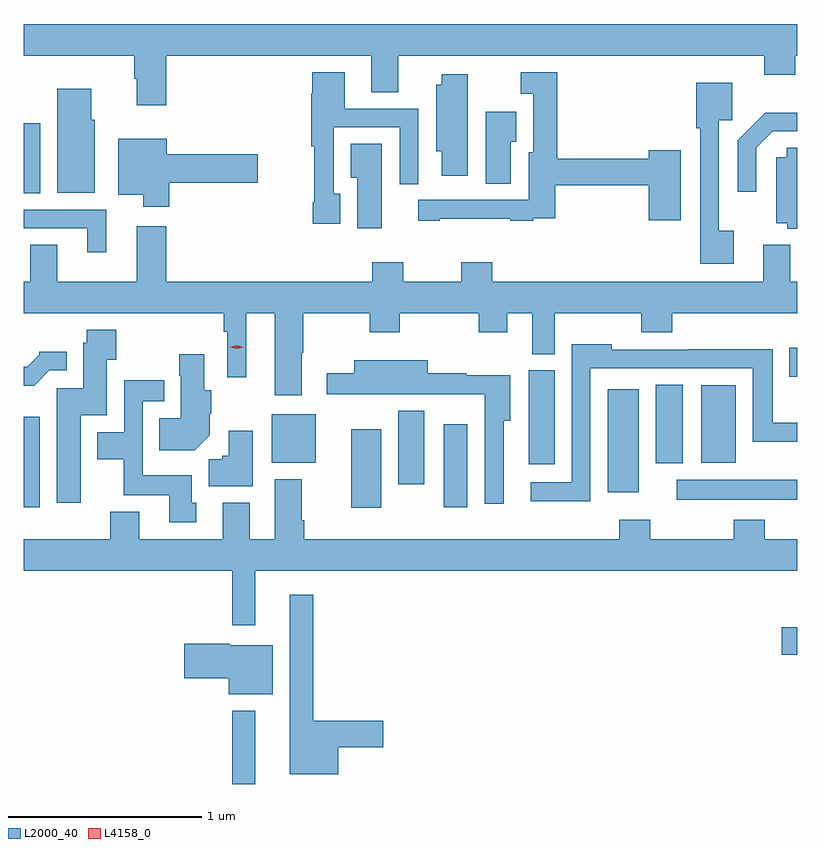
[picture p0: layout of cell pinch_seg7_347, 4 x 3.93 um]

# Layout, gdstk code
import gdstk
lib = gdstk.Library(unit=1e-6, precision=1e-09)
def R(c, l, rs):  # rectangles x0, y0, x1, y1
    for r in rs: c.add(gdstk.rectangle(r[:2], r[2:], *l))
def P(c, l, *ps):  # polygons
    for p in ps: c.add(gdstk.Polygon(p, *l))
L2000_40 = (2000, 40)
L4158_0 = (4158, 0)

pinch_seg7_347 = lib.new_cell('pinch_seg7_347')
R(pinch_seg7_347, L2000_40, [(370.95,1002.177,371.071,1002.556), (373.794,1002.845,373.873,1002.987), (371.567,1003.605,371.722,1004.011), (369.873,1003.608,369.955,1004.077), (372.044,1003.608,372.166,1004.038), (373.251,1003.646,373.873,1003.75), (372.893,1003.686,373.054,1004.218), (371.81,1003.728,371.944,1004.107), (372.485,1003.83,372.619,1004.316), (373.142,1003.835,373.282,1004.243), (371.156,1003.838,371.383,1004.089), (373.376,1003.838,373.555,1004.239), (373.832,1004.284,373.873,1004.434), (369.873,1005.232,369.958,1005.595)])
P(pinch_seg7_347, L2000_40, [(370.61,1005.944),(371.669,1005.944),(371.669,1005.754),(371.809,1005.754),(371.809,1005.944),(373.703,1005.944),(373.703,1005.845),(373.863,1005.845),(373.863,1005.944),(373.873,1005.944),(373.873,1006.108),(369.873,1006.108),(369.873,1005.944),(370.445,1005.944),(370.445,1005.824),(370.457,1005.824),(370.457,1005.687),(370.61,1005.687)],
  [(372.025,1005.1),(372.389,1005.1),(372.389,1005.09),(372.509,1005.09),(372.509,1005.102),(372.621,1005.102),(372.621,1005.274),(373.105,1005.274),(373.105,1005.093),(373.27,1005.093),(373.27,1005.454),(373.105,1005.454),(373.105,1005.41),(372.631,1005.41),(372.631,1005.859),(372.444,1005.859),(372.444,1005.746),(372.509,1005.746),(372.509,1005.444),(372.485,1005.444),(372.485,1005.198),(371.913,1005.198),(371.913,1005.09),(372.025,1005.09)],
  [(371.509,1005.231),(371.475,1005.231),(371.475,1005.573),(371.817,1005.573),(371.817,1005.279),(371.913,1005.279),(371.913,1005.669),(371.533,1005.669),(371.533,1005.859),(371.366,1005.859),(371.366,1005.746),(371.359,1005.746),(371.359,1005.476),(371.374,1005.476),(371.374,1005.187),(371.367,1005.187),(371.367,1005.075),(371.509,1005.075)],
  [(372.169,1005.847),(372.035,1005.847),(372.035,1005.793),(372.005,1005.793),(372.005,1005.449),(372.035,1005.449),(372.035,1005.324),(372.169,1005.324)],
  [(373.546,1005.038),(373.467,1005.038),(373.467,1005.609),(373.536,1005.609),(373.536,1005.805),(373.351,1005.805),(373.351,1005.569),(373.371,1005.569),(373.371,1004.868),(373.546,1004.868)],
  [(370.24,1005.612),(370.222,1005.612),(370.222,1005.772),(370.046,1005.772),(370.046,1005.236),(370.24,1005.236)],
  [(372.391,1005.499),(372.421,1005.499),(372.421,1005.655),(372.263,1005.655),(372.263,1005.283),(372.391,1005.283)],
  [(373.662,1005.468),(373.746,1005.552),(373.873,1005.552),(373.873,1005.65),(373.707,1005.65),(373.566,1005.508),(373.566,1005.24),(373.662,1005.24)],
  [(370.625,1005.287),(371.083,1005.287),(371.083,1005.434),(370.612,1005.434),(370.612,1005.514),(370.361,1005.514),(370.361,1005.224),(370.49,1005.224),(370.49,1005.162),(370.625,1005.162)],
  [(371.725,1005.488),(371.564,1005.488),(371.564,1005.314),(371.597,1005.314),(371.597,1005.051),(371.725,1005.051)],
  [(373.873,1005.467),(373.818,1005.467),(373.818,1005.42),(373.766,1005.42),(373.766,1005.077),(373.821,1005.077),(373.821,1005.05),(373.873,1005.05)],
  [(370.3,1005.147),(369.873,1005.147),(369.873,1005.051),(370.202,1005.051),(370.202,1004.928),(370.3,1004.928)],
  [(371.311,1004.408),(371.319,1004.408),(371.319,1004.612),(371.662,1004.612),(371.662,1004.513),(371.817,1004.513),(371.817,1004.612),(372.226,1004.612),(372.226,1004.513),(372.373,1004.513),(372.373,1004.612),(372.503,1004.612),(372.503,1004.401),(372.619,1004.401),(372.619,1004.612),(373.066,1004.612),(373.066,1004.513),(373.226,1004.513),(373.226,1004.612),(373.873,1004.612),(373.873,1004.776),(373.837,1004.776),(373.837,1004.965),(373.697,1004.965),(373.697,1004.776),(372.296,1004.776),(372.296,1004.875),(372.136,1004.875),(372.136,1004.776),(371.835,1004.776),(371.835,1004.875),(371.675,1004.875),(371.675,1004.776),(370.61,1004.776),(370.61,1005.061),(370.457,1005.061),(370.457,1004.776),(370.045,1004.776),(370.045,1004.966),(369.905,1004.966),(369.905,1004.776),(369.873,1004.776),(369.873,1004.612),(370.906,1004.612),(370.906,1004.516),(370.926,1004.516),(370.926,1004.28),(371.023,1004.28),(371.023,1004.612),(371.171,1004.612),(371.171,1004.187),(371.311,1004.187)],
  [(370.168,1004.084),(370.303,1004.084),(370.303,1004.371),(370.35,1004.371),(370.35,1004.527),(370.198,1004.527),(370.198,1004.46),(370.181,1004.46),(370.181,1004.223),(370.043,1004.223),(370.043,1003.632),(370.168,1003.632)],
  [(372.804,1004.328),(373.643,1004.328),(373.643,1003.946),(373.873,1003.946),(373.873,1004.046),(373.747,1004.046),(373.747,1004.426),(373.309,1004.426),(373.309,1004.424),(372.915,1004.424),(372.915,1004.452),(372.708,1004.452),(372.708,1003.737),(372.495,1003.737),(372.495,1003.64),(372.804,1003.64)],
  [(370.005,1004.316),(370.096,1004.316),(370.096,1004.413),(369.954,1004.413),(369.954,1004.398),(369.89,1004.334),(369.873,1004.334),(369.873,1004.238),(369.927,1004.238)],
  [(370.834,1003.982),(370.834,1004.092),(370.842,1004.092),(370.842,1004.214),(370.807,1004.214),(370.807,1004.401),(370.678,1004.401),(370.678,1004.288),(370.685,1004.288),(370.685,1004.068),(370.573,1004.068),(370.573,1003.904),(370.756,1003.904)],
  [(372.355,1004.057),(372.388,1004.057),(372.388,1004.292),(372.161,1004.292),(372.161,1004.302),(371.962,1004.302),(371.962,1004.368),(371.582,1004.368),(371.582,1004.302),(371.439,1004.302),(371.439,1004.192),(371.686,1004.192),(371.686,1004.193),(372.058,1004.193),(372.058,1004.192),(372.258,1004.192),(372.258,1003.626),(372.355,1003.626)],
  [(370.765,1003.632),(370.741,1003.632),(370.741,1003.774),(370.488,1003.774),(370.488,1004.157),(370.6,1004.157),(370.6,1004.265),(370.392,1004.265),(370.392,1003.996),(370.253,1003.996),(370.253,1003.856),(370.39,1003.856),(370.39,1003.67),(370.625,1003.67),(370.625,1003.53),(370.765,1003.53)],
  [(371.056,1004.005),(370.934,1004.005),(370.934,1003.875),(370.899,1003.875),(370.899,1003.856),(370.829,1003.856),(370.829,1003.718),(371.056,1003.718)],
  [(371.071,1003.28),(373.873,1003.28),(373.873,1003.444),(373.706,1003.444),(373.706,1003.543),(373.546,1003.543),(373.546,1003.444),(373.113,1003.444),(373.113,1003.543),(372.953,1003.543),(372.953,1003.444),(371.324,1003.444),(371.324,1003.54),(371.311,1003.54),(371.311,1003.753),(371.171,1003.753),(371.171,1003.444),(371.041,1003.444),(371.041,1003.633),(370.901,1003.633),(370.901,1003.444),(370.471,1003.444),(370.471,1003.585),(370.319,1003.585),(370.319,1003.444),(369.873,1003.444),(369.873,1003.28),(370.95,1003.28),(370.95,1002.999),(371.071,1002.999)],
  [(371.5,1002.368),(371.731,1002.368),(371.731,1002.503),(371.371,1002.503),(371.371,1003.156),(371.249,1003.156),(371.249,1002.227),(371.5,1002.227)],
  [(371.161,1002.895),(370.938,1002.895),(370.938,1002.903),(370.704,1002.903),(370.704,1002.725),(370.934,1002.725),(370.934,1002.641),(371.161,1002.641)])
P(pinch_seg7_347, L4158_0, [(370.974,1004.427),(370.938,1004.437),(370.938,1004.437),(370.938,1004.437),(370.974,1004.447),(371.01,1004.437),(371.01,1004.437),(371.01,1004.437)])

lib.write_gds('pinch_seg7_347.gds')
